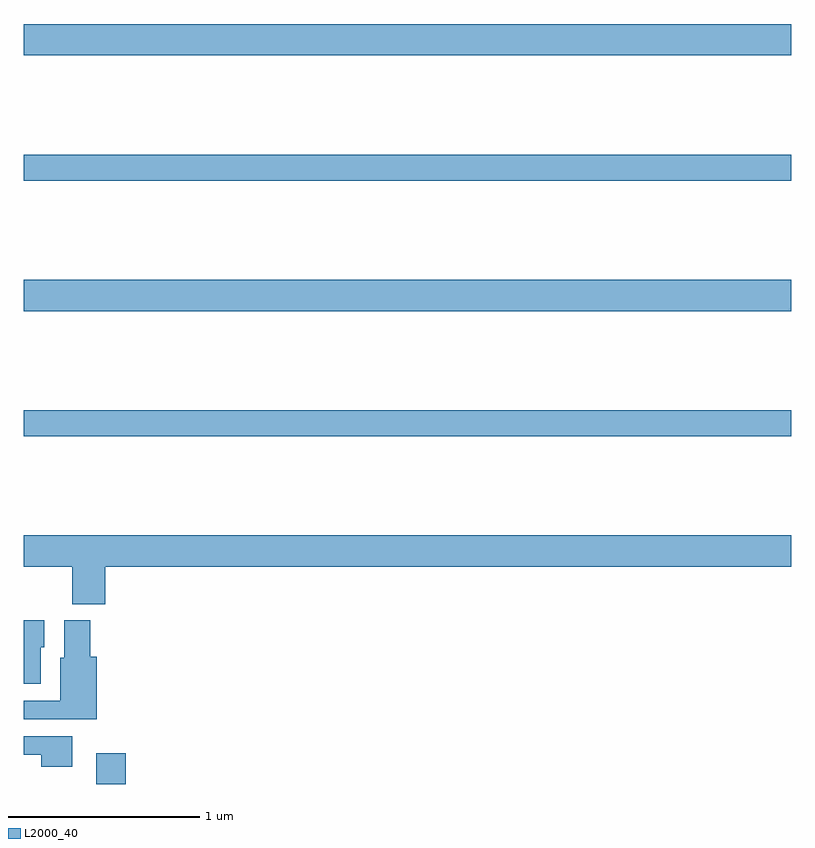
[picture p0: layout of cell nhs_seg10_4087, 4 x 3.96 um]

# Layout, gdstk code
import gdstk
lib = gdstk.Library(unit=1e-6, precision=1e-09)
def R(c, l, rs):  # rectangles x0, y0, x1, y1
    for r in rs: c.add(gdstk.rectangle(r[:2], r[2:], *l))
def P(c, l, *ps):  # polygons
    for p in ps: c.add(gdstk.Polygon(p, *l))
L2000_40 = (2000, 40)

nhs_seg10_4087 = lib.new_cell('nhs_seg10_4087')
R(nhs_seg10_4087, L2000_40, [(337.379,1316.5,337.532,1316.659), (337,1318.312,341,1318.448), (337,1318.964,341,1319.128), (337,1319.644,341,1319.78), (337,1320.296,341,1320.46)])
P(nhs_seg10_4087, L2000_40, [(337.424,1317.632),(341,1317.632),(341,1317.796),(337,1317.796),(337,1317.632),(337.252,1317.632),(337.252,1317.437),(337.424,1317.437)],
  [(337.09,1317.213),(337.108,1317.213),(337.108,1317.352),(337,1317.352),(337,1317.023),(337.09,1317.023)],
  [(337.381,1317.163),(337.346,1317.163),(337.346,1317.352),(337.211,1317.352),(337.211,1317.159),(337.19,1317.159),(337.19,1316.934),(337,1316.934),(337,1316.838),(337.381,1316.838)],
  [(337.252,1316.748),(337,1316.748),(337,1316.652),(337.091,1316.652),(337.091,1316.589),(337.252,1316.589)])

lib.write_gds('nhs_seg10_4087.gds')
